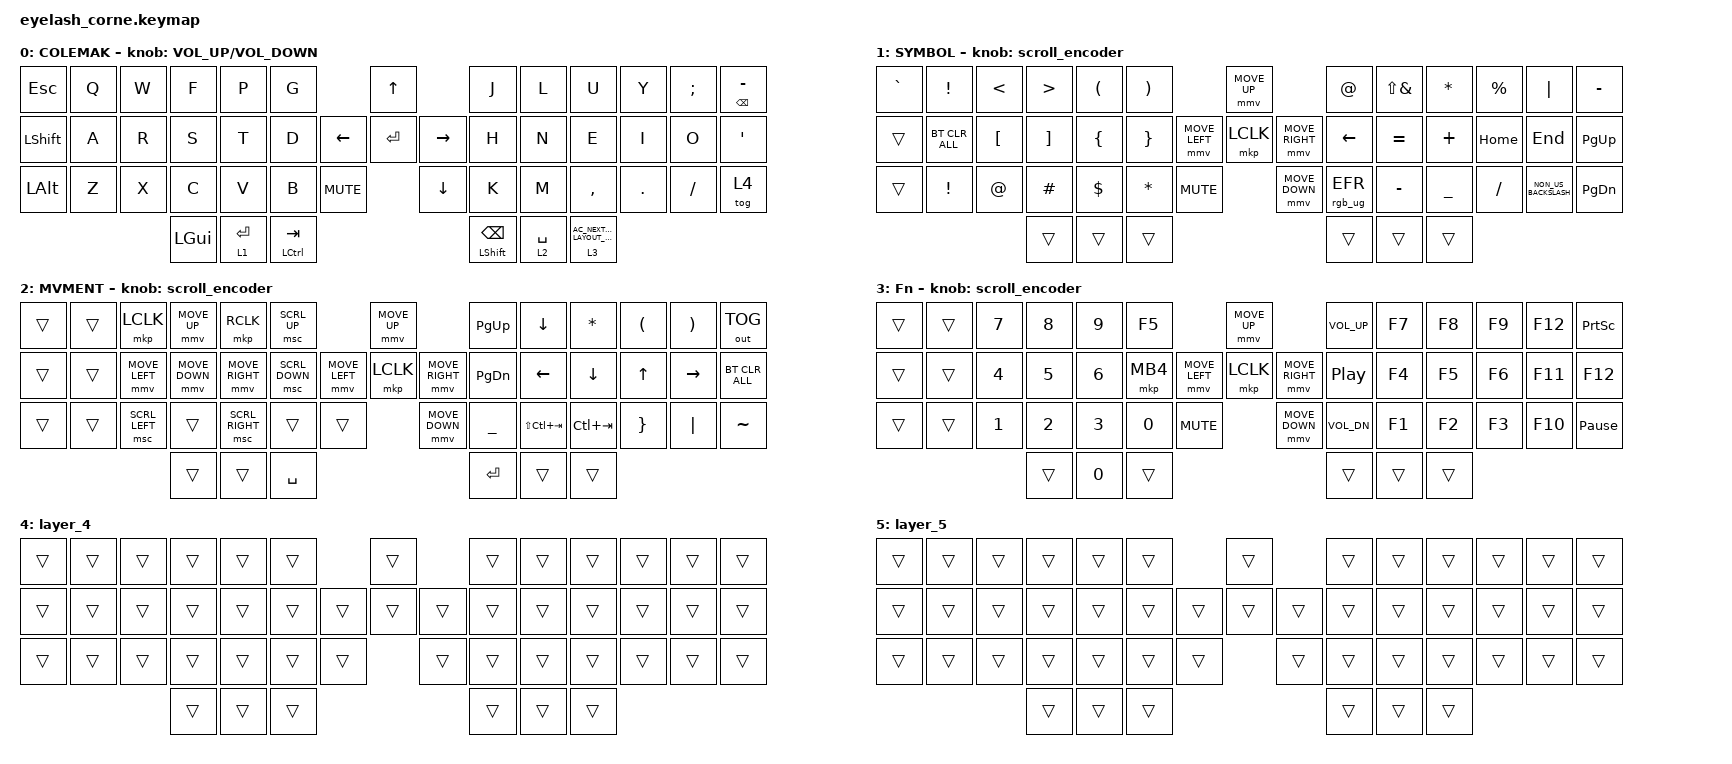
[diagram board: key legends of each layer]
#define ZMK_POINTING_DEFAULT_MOVE_VAL 1200  // 600
#define ZMK_POINTING_DEFAULT_SCRL_VAL 25   // 10

#include <input/processors.dtsi>
#include <zephyr/dt-bindings/input/input-event-codes.h>
#include <behaviors.dtsi>
#include <dt-bindings/zmk/bt.h>
#include <dt-bindings/zmk/keys.h>
#include <dt-bindings/zmk/outputs.h>
#include <dt-bindings/zmk/pointing.h>
#include <dt-bindings/zmk/rgb.h>

&mmv_input_listener { input-processors = <&zip_xy_scaler 2 1>; };

&msc_input_listener { input-processors = <&zip_scroll_scaler 2 1>; };

&msc {
    acceleration-exponent = <1>;      // 0
    time-to-max-speed-ms = <100>;       // 300
    delay-ms = <0>;                   // 0
};

&mmv {
    time-to-max-speed-ms = <500>;
    acceleration-exponent = <1>;
    trigger-period-ms = <16>;
};

/ {
    behaviors {
        td0: td0 {
            compatible = "zmk,behavior-tap-dance";
            display-name = "Shift/Caps Lock Tap Dance";
            #binding-cells = <0>;
            bindings = <&kp LEFT_SHIFT>, <&kp CAPS>;
        };
    };

    rgb_encoder: rgb_encoder {
        compatible = "zmk,behavior-sensor-rotate";
        #sensor-binding-cells = <0>;
        bindings = <&rgb_ug RGB_BRI>, <&rgb_ug RGB_BRD>;
    };

    scroll_encoder: scroll_encoder {
        compatible = "zmk,behavior-sensor-rotate";
        #sensor-binding-cells = <0>;
        bindings = <&msc SCRL_DOWN>, <&msc SCRL_UP>;

        tap-ms = <100>;
    };

    keymap {
        compatible = "zmk,keymap";

        default_layer {
            display-name = "COLEMAK";
            bindings = <
&kp ESC    &kp Q  &kp W  &kp F     &kp P        &kp G                                         &kp UP                &kp J                     &kp L        &kp U                                   &kp Y    &kp SEMICOLON  &mt BACKSPACE MINUS
&kp LSHFT  &kp A  &kp R  &kp S     &kp T        &kp D                               &kp LEFT  &kp ENTER  &kp RIGHT  &kp H                     &kp N        &kp E                                   &kp I    &kp O          &kp SQT
&kp LALT   &kp Z  &kp X  &kp C     &kp V        &kp B                 &kp K_MUTE              &kp DOWN              &kp K                     &kp M        &kp COMMA                               &kp DOT  &kp FSLH       &tog 4
                         &kp LGUI  &lt 1 ENTER  &mt LEFT_CONTROL TAB                                                &mt LEFT_SHIFT BACKSPACE  &lt 2 SPACE  &lt 3 C_AC_NEXT_KEYBOARD_LAYOUT_SELECT
            >;

            sensor-bindings = <&inc_dec_kp C_VOLUME_UP C_VOLUME_DOWN>;
        };

        lower_layer {
            display-name = "SYMBOL";
            bindings = <
&kp GRAVE  &kp EXCLAMATION  &kp LESS_THAN     &kp GREATER_THAN   &kp LEFT_PARENTHESIS  &kp RIGHT_PARENTHESIS                                &mmv MOVE_UP                     &kp AT_SIGN      &kp LS(AMPERSAND)  &kp ASTERISK    &kp PERCENT  &kp PIPE              &kp MINUS
&trans     &bt BT_CLR_ALL   &kp LEFT_BRACKET  &kp RIGHT_BRACKET  &kp LEFT_BRACE        &kp RIGHT_BRACE                      &mmv MOVE_LEFT  &mkp LCLK       &mmv MOVE_RIGHT  &kp LEFT         &kp EQUAL          &kp PLUS        &kp HOME     &kp END               &kp PG_UP
&trans     &kp EXCLAMATION  &kp AT_SIGN       &kp HASH           &kp DOLLAR            &kp ASTERISK           &kp C_MUTE                    &mmv MOVE_DOWN                   &rgb_ug RGB_EFR  &kp MINUS          &kp UNDERSCORE  &kp SLASH    &kp NON_US_BACKSLASH  &kp PG_DN
                                              &trans             &trans                &trans                                                                                &trans           &trans             &trans
            >;

            sensor-bindings = <&scroll_encoder>;
        };

        raise_layer {
            display-name = "MVMENT";
            bindings = <
&trans  &trans  &mkp LCLK       &mmv MOVE_UP    &mkp RCLK        &msc SCRL_UP                              &mmv MOVE_UP                     &kp PG_UP  &kp DOWN         &kp ASTRK    &kp LPAR  &kp RPAR   &out OUT_TOG
&trans  &trans  &mmv MOVE_LEFT  &mmv MOVE_DOWN  &mmv MOVE_RIGHT  &msc SCRL_DOWN            &mmv MOVE_LEFT  &mkp LCLK       &mmv MOVE_RIGHT  &kp PG_DN  &kp LEFT         &kp DOWN     &kp UP    &kp RIGHT  &bt BT_CLR_ALL
&trans  &trans  &msc SCRL_LEFT  &trans          &msc SCRL_RIGHT  &trans          &trans                    &mmv MOVE_DOWN                   &kp UNDER  &kp LS(LC(TAB))  &kp LC(TAB)  &kp RBRC  &kp PIPE   &kp TILDE
                                &trans          &trans           &kp SPACE                                                                  &kp RET    &trans           &trans
            >;

            sensor-bindings = <&scroll_encoder>;
        };

        layer_3 {
            display-name = "Fn";
            bindings = <
&trans  &trans  &kp N7  &kp N8  &kp N9  &kp F5                                  &mmv MOVE_UP                     &kp C_VOLUME_UP   &kp F7  &kp F8  &kp F9  &kp F12  &kp PRINTSCREEN
&trans  &trans  &kp N4  &kp N5  &kp N6  &mkp MB4                &mmv MOVE_LEFT  &mkp LCLK       &mmv MOVE_RIGHT  &kp C_PLAY_PAUSE  &kp F4  &kp F5  &kp F6  &kp F11  &kp F12
&trans  &trans  &kp N1  &kp N2  &kp N3  &kp N0    &kp C_MUTE                    &mmv MOVE_DOWN                   &kp C_VOL_DN      &kp F1  &kp F2  &kp F3  &kp F10  &kp PAUSE_BREAK
                        &trans  &kp N0  &trans                                                                   &trans            &trans  &trans
            >;

            sensor-bindings = <&scroll_encoder>;
        };

        layer_4 {
            bindings = <
&trans  &trans  &trans  &trans  &trans  &trans                    &trans          &trans  &trans  &trans  &trans  &trans  &trans
&trans  &trans  &trans  &trans  &trans  &trans            &trans  &trans  &trans  &trans  &trans  &trans  &trans  &trans  &trans
&trans  &trans  &trans  &trans  &trans  &trans  &trans            &trans          &trans  &trans  &trans  &trans  &trans  &trans
                        &trans  &trans  &trans                                    &trans  &trans  &trans
            >;
        };

        layer_5 {
            bindings = <
&trans  &trans  &trans  &trans  &trans  &trans                    &trans          &trans  &trans  &trans  &trans  &trans  &trans
&trans  &trans  &trans  &trans  &trans  &trans            &trans  &trans  &trans  &trans  &trans  &trans  &trans  &trans  &trans
&trans  &trans  &trans  &trans  &trans  &trans  &trans            &trans          &trans  &trans  &trans  &trans  &trans  &trans
                        &trans  &trans  &trans                                    &trans  &trans  &trans
            >;
        };
    };
};
